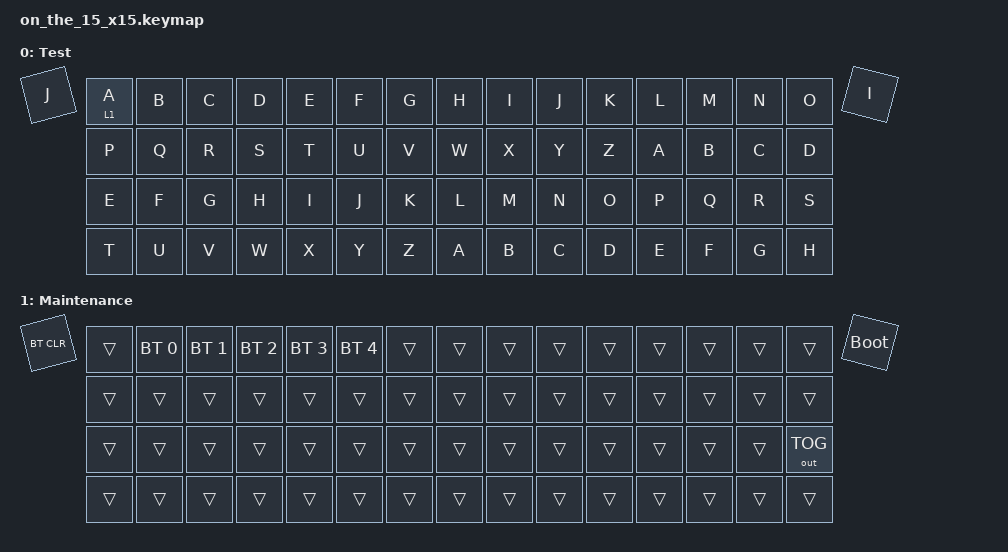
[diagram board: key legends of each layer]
/* Deterministic x15 hardware-test keymap in physical-layout order. */

#include <behaviors.dtsi>
#include <dt-bindings/zmk/bt.h>
#include <dt-bindings/zmk/keys.h>
#include <dt-bindings/zmk/outputs.h>

/ {
    behaviors {
        bt_fb: bluetooth_feedback {
            compatible = "onthe15,behavior-bt-feedback";
            #binding-cells = <2>;
            display-name = "Bluetooth Feedback";
        };
    };

    keymap {
        compatible = "zmk,keymap";

        default_layer {
            display-name = "Test";
            bindings = <
&lt 1 A &kp B &kp C &kp D &kp E &kp F &kp G &kp H &kp I &kp J &kp K &kp L &kp M &kp N &kp O
&kp P   &kp Q &kp R &kp S &kp T &kp U &kp V &kp W &kp X &kp Y &kp Z &kp A &kp B &kp C &kp D
&kp E   &kp F &kp G &kp H &kp I &kp J &kp K &kp L &kp M &kp N &kp O &kp P &kp Q &kp R &kp S
&kp T   &kp U &kp V &kp W &kp X &kp Y &kp Z &kp A &kp B &kp C &kp D &kp E &kp F &kp G &kp H
&kp I   &kp J
            >;
        };

        maintenance_layer: maintenance_layer {
            display-name = "Maintenance";
            bindings = <
&trans       &bt BT_SEL 0 &bt BT_SEL 1 &bt BT_SEL 2 &bt BT_SEL 3 &bt BT_SEL 4 &trans &trans &trans &trans &trans &trans &trans &trans &trans
&trans       &trans       &trans       &trans       &trans       &trans       &trans &trans &trans &trans &trans &trans &trans &trans &trans
&trans       &trans       &trans       &trans       &trans       &trans       &trans &trans &trans &trans &trans &trans &trans &trans &out OUT_TOG
&trans       &trans       &trans       &trans       &trans       &trans       &trans &trans &trans &trans &trans &trans &trans &trans &trans
&bootloader  &bt BT_CLR
            >;
        };
    };
};
